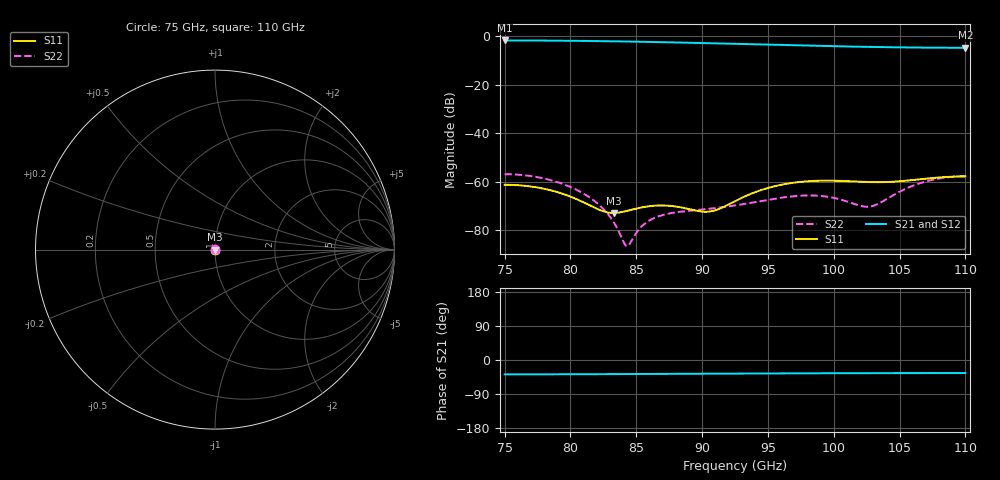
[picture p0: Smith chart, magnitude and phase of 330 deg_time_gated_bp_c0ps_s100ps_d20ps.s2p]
# Hz S RI R 50.000000
! Metas.Vna.Tools, 2.4.7724.19584
! Metas.Vna.Data, 2.4.7724.19560
! Created: UTC 2021.04.29 12:40:11
! FREQ  re:S1,1  im:S1,1  re:S2,1  im:S2,1  re:S1,2  im:S1,2  re:S2,2  im:S2,2
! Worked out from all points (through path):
!   1401 points, 75 GHz to 110 GHz, reference 50 ohm
!   highest |S21| = -1.82 dB at 75 GHz (marker M1); lowest = -4.8 dB at 110 GHz (marker M2)
!   lowest |S11| = -72.8 dB at 83.28 GHz (marker M3), VSWR 1.00, Z = 50 + j0.00999 ohm
!   |S11| at or under -10 dB: start of sweep to end of sweep
!   |S22| runs from -86.5 to -56.8 dB; largest |S21 - S12| = 0.054
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7.5e10  -0.000399 -0.000775  0.6404 -0.4976  0.6097 -0.5424  -0.00127 0.00067
7.815e10  -0.000381 -0.000595  0.6374 -0.4937  0.6071 -0.5382  -0.00101 0.000536
8.085e10  -0.000318 -0.000236  0.6301 -0.4843  0.601 -0.5283  -0.000535 0.00028
8.225e10  -0.00026 -3.36e-05  0.6248 -0.4775  0.5965 -0.521  -0.000292 0.000139
8.3275e10  -0.000206 0.0001  0.6202 -0.4718  0.5927 -0.5147  -0.000143 4.44e-05
8.375e10  -0.000177 0.000154  0.6179 -0.469  0.5908 -0.5116  -8.58e-05 4.72e-06
8.4975e10  -9.67e-05 0.000264  0.6115 -0.4612  0.5856 -0.5028  2.52e-05 -8.33e-05
8.5925e10  -2.91e-05 0.000313  0.6061 -0.4547  0.5812 -0.4955  7.48e-05 -0.000137
8.6675e10  2.52e-05 0.000325  0.6015 -0.4494  0.5776 -0.4893  9.39e-05 -0.000171
9.0425e10  0.00024 3.82e-05  0.5761 -0.4208  0.5577 -0.4547  5.81e-05 -0.000271
9.1225e10  0.000259 -8.51e-05  0.5702 -0.4145  0.5532 -0.4467  5.33e-05 -0.000289
9.25e10  0.000261 -0.000305  0.5607 -0.4045  0.546 -0.4339  6.58e-05 -0.000321
9.525e10  0.000134 -0.000769  0.5399 -0.3837  0.5308 -0.4058  0.000173 -0.000402
9.835e10  -0.000194 -0.00102  0.5175 -0.3626  0.5149 -0.3757  0.000264 -0.000453
9.9975e10  -0.000408 -0.000976  0.5068 -0.353  0.5075 -0.3613  0.000201 -0.000425
1.02475e11  -0.000736 -0.000668  0.4925 -0.3407  0.4977 -0.3422  -0.000114 -0.000286
1.03175e11  -0.00082 -0.000546  0.4891 -0.3378  0.4954 -0.3376  -0.000244 -0.000229
1.04175e11  -0.00093 -0.000357  0.4847 -0.3341  0.4925 -0.3317  -0.000448 -0.00014
1.0555e11  -0.00106 -9.72e-05  0.4796 -0.33  0.4891 -0.325  -0.000739 -1.43e-05
1.06925e11  -0.00115 0.000131  0.4759 -0.3269  0.4867 -0.32  -0.001 9.89e-05
1.08425e11  -0.00122 0.000304  0.4733 -0.3248  0.485 -0.3165  -0.00121 0.000187
1.1e11  -0.00124 0.000371  0.4724 -0.3241  0.4843 -0.3153  -0.00128 0.00022
